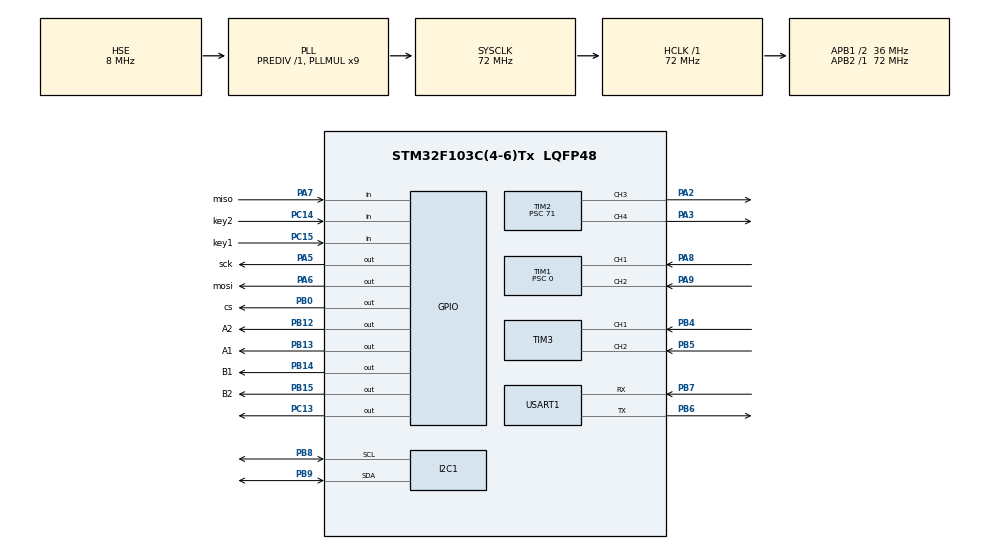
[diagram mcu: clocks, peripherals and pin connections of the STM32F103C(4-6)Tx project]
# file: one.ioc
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I2C1.DualAddressMode=I2C_DUALADDRESS_DISABLE
I2C1.GeneralCallMode=I2C_GENERALCALL_DISABLE
I2C1.I2C_Mode=I2C_Standard
I2C1.NoStretchMode=I2C_NOSTRETCH_DISABLE
Mcu.Family=STM32F1
Mcu.Name=STM32F103C(4-6)Tx
Mcu.Package=LQFP48
NVIC.PriorityGroup=NVIC_PRIORITYGROUP_4
NVIC.TIM1_BRK_IRQn=true\:0\:0\:false\:false\:true\:true\:true\:true
NVIC.TIM1_CC_IRQn=true\:0\:0\:false\:false\:true\:true\:true\:true
NVIC.TIM1_TRG_COM_IRQn=true\:0\:0\:false\:false\:true\:true\:true\:true
NVIC.TIM1_UP_IRQn=true\:0\:0\:false\:false\:true\:true\:true\:true
NVIC.TIM3_IRQn=true\:0\:0\:false\:false\:true\:true\:true\:true
PA2.Signal=S_TIM2_CH3
PA3.Signal=S_TIM2_CH4
PA5.GPIO_Label=sck
PA5.Signal=GPIO_Output
PA6.GPIO_Label=mosi
PA6.Signal=GPIO_Output
PA7.GPIO_Label=miso
PA7.Signal=GPIO_Input
PA8.Signal=S_TIM1_CH1
PA9.Signal=S_TIM1_CH2
PB0.GPIO_Label=cs
PB0.Signal=GPIO_Output
PB12.GPIO_Label=A2
PB12.Signal=GPIO_Output
PB13.GPIO_Label=A1
PB13.Signal=GPIO_Output
PB14.GPIO_Label=B1
PB14.Signal=GPIO_Output
PB15.GPIO_Label=B2
PB15.Signal=GPIO_Output
PB4.Signal=S_TIM3_CH1
PB5.Signal=S_TIM3_CH2
PB6.Mode=Asynchronous
PB6.Signal=USART1_TX
PB7.Mode=Asynchronous
PB7.Signal=USART1_RX
PB8.GPIO_Pu=GPIO_NOPULL
PB8.Mode=I2C
PB8.Signal=I2C1_SCL
PB9.GPIO_Pu=GPIO_NOPULL
PB9.Mode=I2C
PB9.Signal=I2C1_SDA
PC13-TAMPER-RTC.Signal=GPIO_Output
PC14-OSC32_IN.GPIO_Label=key2
PC14-OSC32_IN.Signal=GPIO_Input
PC15-OSC32_OUT.GPIO_Label=key1
PC15-OSC32_OUT.Signal=GPIO_Input
PD0-OSC_IN.Mode=HSE-External-Oscillator
PD0-OSC_IN.Signal=RCC_OSC_IN
PD1-OSC_OUT.Mode=HSE-External-Oscillator
PD1-OSC_OUT.Signal=RCC_OSC_OUT
ProjectManager.HeapSize=0x200
ProjectManager.StackSize=0x400
ProjectManager.TargetToolchain=MDK-ARM V5.27
RCC.AHBFreq_Value=72000000
RCC.APB1CLKDivider=RCC_HCLK_DIV2
RCC.APB1Freq_Value=36000000
RCC.APB1TimFreq_Value=72000000
RCC.APB2Freq_Value=72000000
RCC.APB2TimFreq_Value=72000000
RCC.HCLKFreq_Value=72000000
RCC.PLLMUL=RCC_PLL_MUL9
RCC.PLLSourceVirtual=RCC_PLLSOURCE_HSE
RCC.SYSCLKFreq_VALUE=72000000
RCC.SYSCLKSource=RCC_SYSCLKSOURCE_PLLCLK
RCC.USBFreq_Value=72000000
SH.S_TIM1_CH1.0=TIM1_CH1,Encoder_Interface
SH.S_TIM1_CH2.0=TIM1_CH2,Encoder_Interface
SH.S_TIM2_CH3.0=TIM2_CH3,PWM Generation3 CH3
SH.S_TIM2_CH4.0=TIM2_CH4,PWM Generation4 CH4
SH.S_TIM3_CH1.0=TIM3_CH1,Encoder_Interface
SH.S_TIM3_CH2.0=TIM3_CH2,Encoder_Interface
TIM1.AutoReloadPreload=TIM_AUTORELOAD_PRELOAD_DISABLE
TIM1.EncoderMode=TIM_ENCODERMODE_TI12
TIM1.Period=65535
TIM1.Prescaler=0
TIM2.AutoReloadPreload=TIM_AUTORELOAD_PRELOAD_ENABLE
TIM2.Channel-PWM\ Generation3\ CH3=TIM_CHANNEL_3
TIM2.Channel-PWM\ Generation4\ CH4=TIM_CHANNEL_4
TIM2.Period=999
TIM2.Prescaler=71
TIM2.Pulse-PWM\ Generation3\ CH3=500
TIM2.Pulse-PWM\ Generation4\ CH4=500
TIM2.TIM_MasterOutputTrigger=TIM_TRGO_UPDATE
TIM2.TIM_MasterSlaveMode=TIM_MASTERSLAVEMODE_ENABLE
TIM3.AutoReloadPreload=TIM_AUTORELOAD_PRELOAD_DISABLE
TIM3.EncoderMode=TIM_ENCODERMODE_TI12
USART1.VirtualMode=VM_ASYNC
VP_SYS_VS_ND.Mode=No_Debug
board=custom

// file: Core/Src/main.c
/* USER CODE BEGIN Header */
/**
  ******************************************************************************
  * @file           : main.c
  * @brief          : Main program body
  ******************************************************************************
  * @attention
  *
  * Copyright (c) 2022 STMicroelectronics.
  * All rights reserved.
  *
  * This software is licensed under terms that can be found in the LICENSE file
  * in the root directory of this software component.
  * If no LICENSE file comes with this software, it is provided AS-IS.
  *
  ******************************************************************************
  */
/* USER CODE END Header */
#include "main.h"
#include "i2c.h"
#include "tim.h"
#include "usart.h"
#include "gpio.h"

/* USER CODE BEGIN Includes */
//#include "icm_iic.h"
#include "icm.h"
#include "stdio.h"
#include "iic.h"
#include "oled.h"
#include "encoder.h"
#include "pid.h"
#include "moto.h"
#include "key.h"
/* USER CODE END Includes */

/* USER CODE BEGIN PD */

//#ifdef __GNUC__
//#define PUTCHAR_PROTOTYPE int __io_putchar(int ch)
//#else
//#define PUTCHAR_PROTOTYPE int fputc(int ch, FILE *f)
//#endif
//PUTCHAR_PROTOTYPE
//{
//HAL_UART_Transmit(&huart1 , (uint8_t *)&ch, 1, 0xFFFF);
//return ch;
//}

int fputc(int ch, FILE *f)
{
HAL_UART_Transmit(&huart1 , (uint8_t *)&ch, 1, 0xFFFF);
return ch;
}

/* USER CODE END PD */

void SystemClock_Config(void);

int main(void)
{

  /* MCU Configuration--------------------------------------------------------*/

  /* Reset of all peripherals, Initializes the Flash interface and the Systick. */
  HAL_Init();

  /* USER CODE BEGIN Init */
//打开PB口时钟,AFIO复用时钟

  /* USER CODE END Init */

  /* Configure the system clock */
  SystemClock_Config();

  /* Initialize all configured peripherals */
  MX_GPIO_Init();
  MX_USART1_UART_Init();
  MX_I2C1_Init();
  MX_TIM1_Init();
  MX_TIM2_Init();
  MX_TIM3_Init();
  /* USER CODE BEGIN 2 */
	PID_init();
	icm20602_init_simspi();
	gyroOffset_init();
//		OLED_Init();
//	OLED_Clear();
	HAL_TIM_Base_Start_IT(&htim2);
	HAL_TIM_PWM_Start(&htim2,TIM_CHANNEL_3);
	__HAL_TIM_CLEAR_IT(&htim2,TIM_CHANNEL_3);
//	__HAL_TIM_SET_COMPARE(&htim2,TIM_CHANNEL_3,0);
//
//
		HAL_TIM_PWM_Start(&htim2,TIM_CHANNEL_4);
	__HAL_TIM_CLEAR_IT(&htim2,TIM_CHANNEL_4);
//	__HAL_TIM_SET_COMPARE(&htim2,TIM_CHANNEL_4,1000);
	HAL_TIM_Base_Start(&htim2);

	/* USER CODE BEGIN 2 */
  HAL_TIM_Encoder_Start(&htim1, TIM_CHANNEL_ALL);
	HAL_TIM_Encoder_Start(&htim3, TIM_CHANNEL_ALL);
//	HAL_TIM_Encoder_Start(&htim2, TIM_CHANNEL_1|TIM_CHANNEL_2);
//	HAL_TIM_Base_Start_IT(&htim1);
//	HAL_TIM_Base_Start_IT(&htim2);

//	HAL_TIM_Base_Start(&htim2);
  /* USER CODE END 2 */

  /* Infinite loop */
  while (1)
  {

    /* USER CODE BEGIN 3 */
//		encoder();
//		uint32_t enc1=0;
//
//		enc1 = (uint32_t)(__HAL_TIM_GET_COUNTER(&htim1));//获取定时器的值
//
//				uint32_t enc2=0;
////
//		enc2 = (uint32_t)(__HAL_TIM_GET_COUNTER(&htim3));//获取定时器的值
//		HAL_GPIO_WritePin(GPIOC,GPIO_PIN_13,0);
//		HAL_Delay(10);
//		HAL_GPIO_WritePin(GPIOC,GPIO_PIN_13,1);
//		HAL_Delay(10);               // Device header
//		printf("%d,%d,%f\n",enc1,enc2,pid[1].fOutput);
			printf("%d,%f,%f,%f,%d,%f,%f,%f\n",enc1,pid[1].fOutput,pid[2].fOutput,pid[3].fOutput,icm_gyro_y,sum,eulerAngle.pitch,key1_num);
//			printf("%d,%d,%d,%d,%d,%d\n",icm_gyro_x,icm_gyro_y,icm_gyro_z,icm_acc_x,icm_acc_y,icm_acc_z);

//		printf("%d,%d,%d,%d,%d,%d\n",icm_gyro_x,icm_gyro_y,icm_gyro_z,kicm_gyro_x,kicm_gyro_y,kicm_gyro_z);
//		printf("%d,%d,%d,%f,%f,%f\n",icm_gyro_x,icm_gyro_y,icm_gyro_z,eulerAngle.roll,eulerAngle.yaw,eulerAngle.pitch);
//		xx=1;
//		if(eulerAngle.pitch>10 | eulerAngle.pitch<-10)
//		{
//			xx=0;
//			moto_contorl(0,0);
//		}

//		OLED_ShowString(1,1,(unsigned char *)"YJRQZ",16);
//
//		OLED_Refresh_Gram();

//		OLED_ShowChinese(32,0,2,16);  //博
//		OLED_ShowChinese(48,0,3,16);	//主
//		OLED_ShowChar(62,0,':',16,1);	//：
//		OLED_ShowChar(74,0,'Q',16,1); //Q
//		OLED_ShowChinese(86,0,0,16);	//大
//		OLED_ShowChinese(102,0,1,16);	//帅
//		OLED_ShowString(45,40,(unsigned char *)"2022.6.1",16); //2022.6.1

//		OLED_Refresh_Gram();

//		HAL_GPIO_WritePin(GPIOC,GPIO_PIN_13,1);

//		HAL_GPIO_WritePin(GPIOC,GPIO_PIN_13,0);
//		printf("%d,%d,%d,%d,%d,%d\r\n",icm_acc_x,icm_acc_y,icm_acc_z,icm_gyro_x,icm_gyro_y,icm_gyro_z);
//		HAL_GPIO_TogglePin(GPIOC,GPIO_PIN_13);
//		HAL_Delay(500);
//		HAL_GPIO_TogglePin(GPIOC,GPIO_PIN_13);
//		HAL_Delay(500);
//		printf("1111");
//		printf("%.2f,%.2f,%.2f\n",eulerAngle.pitch,eulerAngle.roll,eulerAngle.yaw);
		//HAL_Delay(5);
  }
  /* USER CODE END 3 */
}

void SystemClock_Config(void)
{
  RCC_OscInitTypeDef RCC_OscInitStruct = {0};
  RCC_ClkInitTypeDef RCC_ClkInitStruct = {0};

  /** Initializes the RCC Oscillators according to the specified parameters
  * in the RCC_OscInitTypeDef structure.
  */
  RCC_OscInitStruct.OscillatorType = RCC_OSCILLATORTYPE_HSE;
  RCC_OscInitStruct.HSEState = RCC_HSE_ON;
  RCC_OscInitStruct.HSEPredivValue = RCC_HSE_PREDIV_DIV1;
  RCC_OscInitStruct.HSIState = RCC_HSI_ON;
  RCC_OscInitStruct.PLL.PLLState = RCC_PLL_ON;
  RCC_OscInitStruct.PLL.PLLSource = RCC_PLLSOURCE_HSE;
  RCC_OscInitStruct.PLL.PLLMUL = RCC_PLL_MUL9;
  if (HAL_RCC_OscConfig(&RCC_OscInitStruct) != HAL_OK)
  {
    Error_Handler();
  }

  /** Initializes the CPU, AHB and APB buses clocks
  */
  RCC_ClkInitStruct.ClockType = RCC_CLOCKTYPE_HCLK|RCC_CLOCKTYPE_SYSCLK
                              |RCC_CLOCKTYPE_PCLK1|RCC_CLOCKTYPE_PCLK2;
  RCC_ClkInitStruct.SYSCLKSource = RCC_SYSCLKSOURCE_PLLCLK;
  RCC_ClkInitStruct.AHBCLKDivider = RCC_SYSCLK_DIV1;
  RCC_ClkInitStruct.APB1CLKDivider = RCC_HCLK_DIV2;
  RCC_ClkInitStruct.APB2CLKDivider = RCC_HCLK_DIV1;

  if (HAL_RCC_ClockConfig(&RCC_ClkInitStruct, FLASH_LATENCY_2) != HAL_OK)
  {
    Error_Handler();
  }
}

void Error_Handler(void)
{
  __disable_irq();
  while (1)
  {
  }
}
